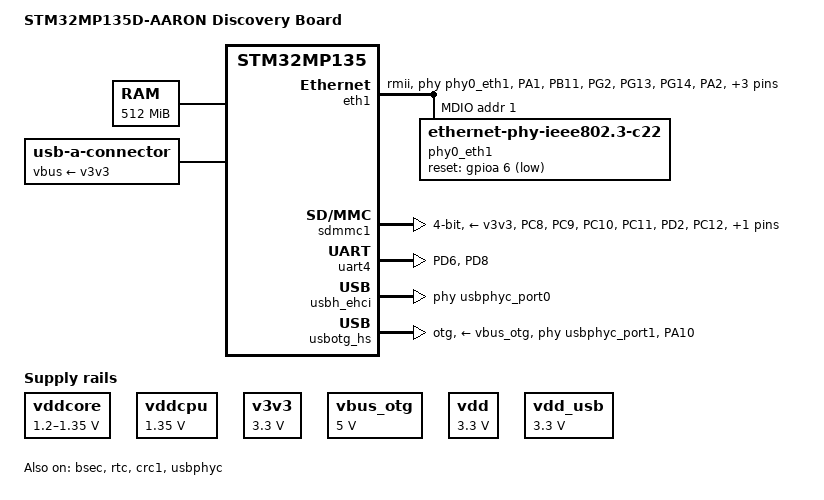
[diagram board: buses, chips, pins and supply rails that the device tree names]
// SPDX-License-Identifier: (GPL-2.0-or-later OR BSD-3-Clause)
/*
 * Copyright (C) 2024, STMicroelectronics - All Rights Reserved
 * Author: STM32CubeMX code generation for STMicroelectronics.
 */

/* For more information on Device Tree configuration, please refer to
 * https://wiki.st.com/stm32mpu/wiki/Category:Device_tree_configuration
 */

/dts-v1/;
#include <dt-bindings/pinctrl/stm32-pinfunc.h>

#include "stm32mp135.dtsi"
#include "stm32mp13xd.dtsi"

#include <dt-bindings/gpio/gpio.h>

/ {
	model = "STM32MP135D-AARON Discovery Board";
	compatible = "st,stm32mp135d-aaron", "st,stm32mp135";

	aliases {
		ethernet0 = &eth1;
		serial0 = &uart4;
	};

	chosen {
		stdout-path = "serial0:115200n8";
	};

	memory@c0000000 {
		device_type = "memory";
		reg = <0xc0000000 0x20000000>;
	};

	reserved-memory {
		#address-cells = <1>;
		#size-cells = <1>;
		ranges;

		optee@de000000 {
			reg = <0xde000000 0x2000000>;
			no-map;
		};
	};

	vddcore: vddcore {
        compatible = "regulator-fixed";
        regulator-name = "vddcore";
        regulator-min-microvolt = <1200000>;
        regulator-max-microvolt = <1350000>;
        regulator-off-in-suspend;
        regulator-always-on;
	};

	vddcpu: vddcpu {
		compatible = "regulator-fixed";
		regulator-name = "vddcpu";
		regulator-min-microvolt = <1350000>;
		regulator-max-microvolt = <1350000>;
        regulator-off-in-suspend;
        regulator-always-on;
	};

	v3v3: v3v3 {
        compatible = "regulator-fixed";
        regulator-name = "v3v3";
        regulator-min-microvolt = <3300000>;
        regulator-max-microvolt = <3300000>;
        regulator-off-in-suspend;
        regulator-always-on;
    };

	vbus_otg: vbus_otg {
        compatible = "regulator-fixed";
        regulator-name = "vbus_otg";
        regulator-min-microvolt = <5000000>;
        regulator-max-microvolt = <5000000>;
        regulator-off-in-suspend;
		regulator-always-on;
    };

	vdd: vdd {
        compatible = "regulator-fixed";
        regulator-name = "vdd";
        regulator-min-microvolt = <3300000>;
        regulator-max-microvolt = <3300000>;
        regulator-off-in-suspend;
        regulator-always-on;
    };

	vdd_usb: vdd_usb {
        compatible = "regulator-fixed";
        regulator-name = "vdd_usb";
        regulator-min-microvolt = <3300000>;
        regulator-max-microvolt = <3300000>;
        regulator-off-in-suspend;
        regulator-always-on;
    };
};

&bsec {
	status = "okay";
};
 
&dmamux1{
	status = "okay";
};

&mdma {
	status = "okay";
};
 
&rcc {
	status = "okay";
};
 
&rtc {
	status = "okay";
};

&crc1 {
	status = "okay";
};

&eth1 {
	status = "okay";
	pinctrl-0 = <&eth1_pins_a>;
	pinctrl-1 = <&eth1_sleep_pins_a>;
	pinctrl-names = "default", "sleep";
	phy-mode = "rmii";
	max-speed = <100>;
	phy-handle = <&phy0_eth1>;
	nvmem-cells = <&ethernet_mac1_address>;
	nvmem-cell-names = "mac-address";
	mac-address = [00 0a 35 00 00 01];

	mdio1 {
		#address-cells = <1>;
		#size-cells = <0>;
		compatible = "snps,dwmac-mdio";
		phy0_eth1: ethernet-phy@1 {
			compatible = "ethernet-phy-ieee802.3-c22";
			reset-gpios =  <&gpioa 6 GPIO_ACTIVE_LOW>;
			reg = <1>;
		};
	};
};
 
&sdmmc1 {
	pinctrl-names = "default", "opendrain", "sleep";
	pinctrl-0 = <&sdmmc1_pins_a>;
	pinctrl-1 = <&sdmmc1_opendrain_pins_a>;
	pinctrl-2 = <&sdmmc1_sleep_pins_a>;
	cd-gpios = <&gpiof 15 (GPIO_ACTIVE_LOW | GPIO_PULL_UP)>;
	disable-wp;
	st,neg-edge;
	bus-width = <4>;
	vmmc-supply = <&v3v3>;
	status = "okay";
};

&uart4 {
	pinctrl-names = "default", "sleep";
	pinctrl-0 = <&uart4_pins_a>;
	pinctrl-1 = <&uart4_sleep_pins_a>;
	status = "okay";
};

&usbh_ehci {
	phys = <&usbphyc_port0>;
	status = "okay";
};

&usbotg_hs {
	phys = <&usbphyc_port1 0>;
	phy-names = "usb2-phy";
	dr_mode = "otg";
	pinctrl-0 = <&usbotg_hs_pins_a>;
	pinctrl-names = "default";
	vbus-supply = <&vbus_otg>;
	status = "okay";
};

&usbphyc {
	status = "okay";
};

&usbphyc_port0 {
	phy-supply = <&vdd_usb>;
	st,current-boost-microamp = <1000>;
	st,decrease-hs-slew-rate;
	st,tune-hs-dc-level = <2>;
	st,enable-hs-rftime-reduction;
	st,trim-hs-current = <11>;
	st,trim-hs-impedance = <2>;
	st,tune-squelch-level = <1>;
	st,enable-hs-rx-gain-eq;
	st,no-hs-ftime-ctrl;
	st,no-lsfs-sc;

	/*
	 * Hack to keep hub active if wakeup source is enabled
	 * otherwise the hub will wakeup the port0 as soon as the v3v3_sw is disabled
	 */
	connector {
		compatible = "usb-a-connector";
		vbus-supply = <&v3v3>;
	};
};

&usbphyc_port1 {
	phy-supply = <&vdd_usb>;
	st,current-boost-microamp = <1000>;
	st,decrease-hs-slew-rate;
	st,tune-hs-dc-level = <2>;
	st,enable-hs-rftime-reduction;
	st,trim-hs-current = <11>;
	st,trim-hs-impedance = <2>;
	st,tune-squelch-level = <1>;
	st,enable-hs-rx-gain-eq;
	st,no-hs-ftime-ctrl;
	st,no-lsfs-sc;
};

&pinctrl {
	eth1_pins_a: eth1-0 {
		pins1 {
			pinmux = <STM32_PINMUX('A', 1, AF11)>, /* ETH1_REF_CLK */
					 <STM32_PINMUX('B', 11, AF11)>, /* ETH1_TX_EN */
					 <STM32_PINMUX('G', 2, AF11)>, /* ETH1_MDC */
					 <STM32_PINMUX('G', 13, AF11)>, /* ETH1_TXD0 */
					 <STM32_PINMUX('G', 14, AF11)>; /* ETH1_TXD1 */
			bias-disable;
			drive-push-pull;
			slew-rate = <1>;
		};
		pins2 {
			pinmux = <STM32_PINMUX('A', 2, AF11)>; /* ETH1_MDIO */
			bias-disable;
			drive-push-pull;
			slew-rate = <0>;
		};
		pins3 {
			pinmux = <STM32_PINMUX('A', 7, AF11)>, /* ETH1_CRS_DV */
					 <STM32_PINMUX('C', 4, AF11)>, /* ETH1_RXD0 */
					 <STM32_PINMUX('C', 5, AF11)>; /* ETH1_RXD1 */
			bias-disable;
		};
	};

	eth1_sleep_pins_a: eth1_sleep-0 {
		pins {
			pinmux = <STM32_PINMUX('A', 1, ANALOG)>, /* ETH1_REF_CLK */
					 <STM32_PINMUX('A', 2, ANALOG)>, /* ETH1_MDIO */
					 <STM32_PINMUX('A', 7, ANALOG)>, /* ETH1_CRS_DV */
					 <STM32_PINMUX('B', 11, ANALOG)>, /* ETH1_TX_EN */
					 <STM32_PINMUX('C', 4, ANALOG)>, /* ETH1_RXD0 */
					 <STM32_PINMUX('C', 5, ANALOG)>, /* ETH1_RXD1 */
					 <STM32_PINMUX('G', 2, ANALOG)>, /* ETH1_MDC */
					 <STM32_PINMUX('G', 13, ANALOG)>, /* ETH1_TXD0 */
					 <STM32_PINMUX('G', 14, ANALOG)>; /* ETH1_TXD1 */
		};
	};
	sdmmc1_pins_a: sdmmc1-0 {
		pins1 {
			pinmux = <STM32_PINMUX('C', 8, AF12)>, /* SDMMC1_D0 */
					<STM32_PINMUX('C', 9, AF12)>, /* SDMMC1_D1 */
					<STM32_PINMUX('C', 10, AF12)>, /* SDMMC1_D2 */
					<STM32_PINMUX('C', 11, AF12)>, /* SDMMC1_D3 */
					<STM32_PINMUX('D', 2, AF12)>; /* SDMMC1_CMD */
			bias-disable;
			drive-push-pull;
			slew-rate = <1>;
		};
		pins2 {
			pinmux = <STM32_PINMUX('C', 12, AF12)>; /* SDMMC1_CK */
			bias-disable;
			drive-push-pull;
			slew-rate = <3>;
		};
	};
 
	sdmmc1_opendrain_pins_a: sdmmc1_opendrain-0 {
		pins1 {
			pinmux = <STM32_PINMUX('C', 8, AF12)>, /* SDMMC1_D0 */
					<STM32_PINMUX('C', 9, AF12)>, /* SDMMC1_D1 */
					<STM32_PINMUX('C', 10, AF12)>, /* SDMMC1_D2 */
					<STM32_PINMUX('C', 11, AF12)>; /* SDMMC1_D3 */
			bias-disable;
			drive-push-pull;
			slew-rate = <1>;
		};
		pins2 {
			pinmux = <STM32_PINMUX('C', 12, AF12)>; /* SDMMC1_CK */
			bias-disable;
			drive-push-pull;
			slew-rate = <3>;
		};
		pins3 {
			pinmux = <STM32_PINMUX('D', 2, AF12)>; /* SDMMC1_CMD */
			bias-disable;
			drive-open-drain;
			slew-rate = <1>;
		};
	};

	sdmmc1_sleep_pins_a: sdmmc1_sleep-0 {
		pins {
			pinmux = <STM32_PINMUX('C', 8, ANALOG)>, /* SDMMC1_D0 */
					<STM32_PINMUX('C', 9, ANALOG)>, /* SDMMC1_D1 */
					<STM32_PINMUX('C', 10, ANALOG)>, /* SDMMC1_D2 */
					<STM32_PINMUX('C', 11, ANALOG)>, /* SDMMC1_D3 */
					<STM32_PINMUX('C', 12, ANALOG)>, /* SDMMC1_CK */
					<STM32_PINMUX('D', 2, ANALOG)>; /* SDMMC1_CMD */
		};
	};

	uart4_pins_a: uart4-0 {
		pins1 {
			pinmux = <STM32_PINMUX('D', 6, AF8)>; /* UART4_TX */
			bias-pull-up;
			drive-push-pull;
			slew-rate = <0>;
		};
		pins2 {
			pinmux = <STM32_PINMUX('D', 8, AF8)>; /* UART4_RX */
			bias-disable;
		};
	};

	uart4_sleep_pins_a: uart4_sleep-0 {
		pins {
			pinmux = <STM32_PINMUX('D', 6, ANALOG)>, /* UART4_TX */
					<STM32_PINMUX('D', 8, ANALOG)>; /* UART4_RX */
		};
	};

	usbotg_hs_pins_a: usbotg-hs-0 {
		pins {
			pinmux = <STM32_PINMUX('A', 10, ANALOG)>; /* OTG_ID */
		};
	};
};
 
